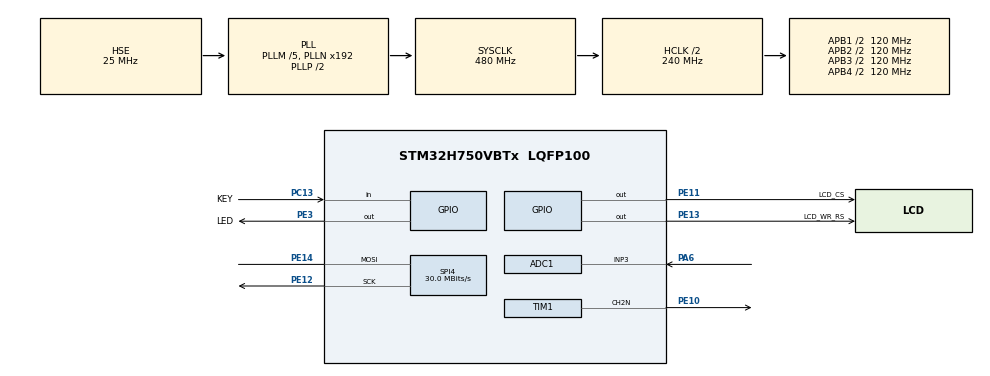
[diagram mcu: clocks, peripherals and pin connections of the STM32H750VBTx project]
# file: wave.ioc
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ADC1.Channel-0\#ChannelRegularConversion=ADC_CHANNEL_3
ADC1.ConversionDataManagement=ADC_CONVERSIONDATA_DMA_CIRCULAR
ADC1.ExternalTrigConv=ADC_EXTERNALTRIG_T2_TRGO
ADC1.NbrOfConversionFlag=1
ADC1.OffsetNumber-0\#ChannelRegularConversion=ADC_OFFSET_NONE
ADC1.OffsetSignedSaturation-0\#ChannelRegularConversion=DISABLE
ADC1.Rank-0\#ChannelRegularConversion=1
ADC1.Resolution=ADC_RESOLUTION_8B
ADC1.SamplingTime-0\#ChannelRegularConversion=ADC_SAMPLETIME_1CYCLE_5
ADC1.master=1
CORTEX_M7.default_mode_Activation=1
Dma.ADC1.0.Direction=DMA_PERIPH_TO_MEMORY
Dma.ADC1.0.EventEnable=DISABLE
Dma.ADC1.0.FIFOMode=DMA_FIFOMODE_ENABLE
Dma.ADC1.0.FIFOThreshold=DMA_FIFO_THRESHOLD_FULL
Dma.ADC1.0.Instance=DMA1_Stream0
Dma.ADC1.0.MemBurst=DMA_MBURST_SINGLE
Dma.ADC1.0.MemDataAlignment=DMA_MDATAALIGN_WORD
Dma.ADC1.0.MemInc=DMA_MINC_ENABLE
Dma.ADC1.0.Mode=DMA_CIRCULAR
Dma.ADC1.0.PeriphBurst=DMA_PBURST_SINGLE
Dma.ADC1.0.PeriphDataAlignment=DMA_PDATAALIGN_BYTE
Dma.ADC1.0.PeriphInc=DMA_PINC_DISABLE
Dma.ADC1.0.Polarity=HAL_DMAMUX_REQ_GEN_RISING
Dma.ADC1.0.Priority=DMA_PRIORITY_LOW
Dma.ADC1.0.RequestNumber=1
Dma.ADC1.0.SignalID=NONE
Dma.ADC1.0.SyncEnable=DISABLE
Dma.ADC1.0.SyncPolarity=HAL_DMAMUX_SYNC_NO_EVENT
Dma.ADC1.0.SyncRequestNumber=1
Dma.ADC1.0.SyncSignalID=NONE
Dma.MEMTOMEM.1.Direction=DMA_MEMORY_TO_MEMORY
Dma.MEMTOMEM.1.EventEnable=DISABLE
Dma.MEMTOMEM.1.FIFOMode=DMA_FIFOMODE_ENABLE
Dma.MEMTOMEM.1.FIFOThreshold=DMA_FIFO_THRESHOLD_FULL
Dma.MEMTOMEM.1.Instance=DMA2_Stream1
Dma.MEMTOMEM.1.MemBurst=DMA_MBURST_INC4
Dma.MEMTOMEM.1.MemDataAlignment=DMA_MDATAALIGN_WORD
Dma.MEMTOMEM.1.MemInc=DMA_MINC_ENABLE
Dma.MEMTOMEM.1.Mode=DMA_NORMAL
Dma.MEMTOMEM.1.PeriphBurst=DMA_PBURST_INC4
Dma.MEMTOMEM.1.PeriphDataAlignment=DMA_PDATAALIGN_WORD
Dma.MEMTOMEM.1.PeriphInc=DMA_PINC_ENABLE
Dma.MEMTOMEM.1.Polarity=HAL_DMAMUX_REQ_GEN_RISING
Dma.MEMTOMEM.1.Priority=DMA_PRIORITY_MEDIUM
Dma.MEMTOMEM.1.RequestNumber=1
Dma.MEMTOMEM.1.SignalID=NONE
Dma.MEMTOMEM.1.SyncEnable=DISABLE
Dma.MEMTOMEM.1.SyncPolarity=HAL_DMAMUX_SYNC_NO_EVENT
Dma.MEMTOMEM.1.SyncRequestNumber=1
Dma.MEMTOMEM.1.SyncSignalID=NONE
Dma.Request0=ADC1
Dma.Request1=MEMTOMEM
Mcu.Family=STM32H7
Mcu.Name=STM32H750VBTx
Mcu.Package=LQFP100
NVIC.DMA1_Stream0_IRQn=true\:0\:0\:false\:false\:true\:false\:true\:true
NVIC.PriorityGroup=NVIC_PRIORITYGROUP_4
NVIC.TIM7_IRQn=true\:0\:0\:false\:false\:true\:true\:true\:true
PA13\ (JTMS/SWDIO).Mode=Serial_Wire
PA13\ (JTMS/SWDIO).Signal=DEBUG_JTMS-SWDIO
PA14\ (JTCK/SWCLK).Mode=Serial_Wire
PA14\ (JTCK/SWCLK).Signal=DEBUG_JTCK-SWCLK
PA6.Signal=ADCx_INP3
PC13.GPIO_Label=KEY
PC13.Signal=GPIO_Input
PE10.Mode=PWM Generation2 CH2N
PE10.Signal=TIM1_CH2N
PE11.GPIO_Label=LCD_CS
PE11.Signal=GPIO_Output
PE12.Mode=Simplex_Bidirectional_Master
PE12.Signal=SPI4_SCK
PE13.GPIO_Label=LCD_WR_RS
PE13.Signal=GPIO_Output
PE14.Mode=Simplex_Bidirectional_Master
PE14.Signal=SPI4_MOSI
PE3.GPIO_Label=LED
PE3.GPIO_Speed=GPIO_SPEED_FREQ_VERY_HIGH
PE3.PinState=GPIO_PIN_RESET
PE3.Signal=GPIO_Output
PH0-OSC_IN\ (PH0).Mode=HSE-External-Oscillator
PH0-OSC_IN\ (PH0).Signal=RCC_OSC_IN
PH1-OSC_OUT\ (PH1).Mode=HSE-External-Oscillator
PH1-OSC_OUT\ (PH1).Signal=RCC_OSC_OUT
ProjectManager.HeapSize=0x200
ProjectManager.StackSize=0x400
ProjectManager.TargetToolchain=MDK-ARM V5.32
RCC.ADCFreq_Value=75000000
RCC.APB1Freq_Value=120000000
RCC.APB2Freq_Value=120000000
RCC.APB3Freq_Value=120000000
RCC.APB4Freq_Value=120000000
RCC.CortexFreq_Value=480000000
RCC.D1PPRE=RCC_APB3_DIV2
RCC.D2PPRE1=RCC_APB1_DIV2
RCC.D2PPRE2=RCC_APB2_DIV2
RCC.D3PPRE=RCC_APB4_DIV2
RCC.DIVM1=5
RCC.DIVM2=2
RCC.DIVN1=192
RCC.DIVN2=12
RCC.HCLKFreq_Value=240000000
RCC.HPRE=RCC_HCLK_DIV2
RCC.PLL2FRACN=0
RCC.PLLFRACN=0
RCC.PLLSourceVirtual=RCC_PLLSOURCE_HSE
RCC.SYSCLKFreq_VALUE=480000000
RCC.SYSCLKSource=RCC_SYSCLKSOURCE_PLLCLK
RCC.USBFreq_Value=480000000
SH.ADCx_INP3.0=ADC1_INP3,IN3-Single-Ended
SPI4.BaudRatePrescaler=SPI_BAUDRATEPRESCALER_4
SPI4.CalculateBaudRate=30.0 MBits/s
SPI4.DataSize=SPI_DATASIZE_8BIT
SPI4.Direction=SPI_DIRECTION_1LINE
SPI4.Mode=SPI_MODE_MASTER
SPI4.VirtualType=VM_MASTER
TIM1.Channel-PWM\ Generation2\ CH2N=TIM_CHANNEL_2
TIM1.OCNPolarity_2=TIM_OCNPOLARITY_LOW
TIM1.Period=1000-1
TIM1.Prescaler=24-1
TIM2.AutoReloadPreload=TIM_AUTORELOAD_PRELOAD_ENABLE
TIM2.Period=5-1
TIM2.Prescaler=24-1
TIM2.TIM_MasterOutputTrigger=TIM_TRGO_UPDATE
TIM2.TIM_MasterSlaveMode=TIM_MASTERSLAVEMODE_DISABLE
TIM7.AutoReloadPreload=TIM_AUTORELOAD_PRELOAD_ENABLE
TIM7.Period=10000-1
TIM7.Prescaler=240-1
VP_MEMORYMAP_VS_MEMORYMAP.Mode=CurAppReg
VP_TIM1_VS_ClockSourceINT.Mode=Internal
VP_TIM2_VS_ClockSourceINT.Mode=Internal
VP_TIM7_VS_ClockSourceINT.Mode=Enable_Timer
board=custom

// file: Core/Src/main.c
/* USER CODE BEGIN Header */
/**
  ******************************************************************************
  * @file           : main.c
  * @brief          : Main program body
  ******************************************************************************
  * @attention
  *
  * Copyright (c) 2025 STMicroelectronics.
  * All rights reserved.
  *
  * This software is licensed under terms that can be found in the LICENSE file
  * in the root directory of this software component.
  * If no LICENSE file comes with this software, it is provided AS-IS.
  *
  ******************************************************************************
  */
/* USER CODE END Header */
#include "main.h"
#include "adc.h"
#include "dma.h"
#include "memorymap.h"
#include "spi.h"
#include "tim.h"
#include "gpio.h"

/* USER CODE BEGIN Includes */
#include "button_user.h"
#include "my_adc.h"
#include "lcd.h"
#include <string.h>
#include "fft.h"
/* USER CODE END Includes */

void SystemClock_Config(void);
static void MPU_Config(void);

/* USER CODE BEGIN 0 */

/**
 * @brief 显示波形（离散点或连线模式）
 * @param buffer 输入数据（范围0~79）
 * @param flag 0=离散点模式，1=连线模式
 * @param stop 是否停止绘制
 */
void show_wave(uint8_t* buffer, uint8_t flag, uint8_t stop,uint32_t color) {
    if (stop) return;

    // 清屏（全黑背景）
    ST7735_LCD_Driver.FillRect(&st7735_pObj, 0, 0, ST7735Ctx.Width, ST7735Ctx.Height, BLACK);

    if (flag) {
        //===== 连线模式（插值绘制线段）=====
        for (uint16_t num = 1; num < 160; num++) {
            int16_t y_prev = 79 - buffer[num - 1]; // 前一个点的Y坐标
            int16_t y_curr = 79 - buffer[num];     // 当前点的Y坐标

            // 计算两点间的垂直距离
            int16_t dy = y_curr - y_prev;

            // 如果距离>1，插值绘制中间点
            if (abs(dy) > 1) {
                // 插值步数（根据距离动态调整）
                uint8_t steps = abs(dy);
                for (uint8_t t = 1; t < steps; t++) {
                    int16_t y_interp = y_prev + (dy * t) / steps; // 线性插值
                    ST7735_SetPixel(&st7735_pObj, num - 1, y_interp, color);
                }
            }

            // 绘制当前点
            ST7735_SetPixel(&st7735_pObj, num, y_curr, color);
        }
    } else {
        //===== 离散点模式（直接绘制）=====
        for (uint16_t num = 0; num < 160; num++) {
            ST7735_SetPixel(&st7735_pObj, num, 79 - buffer[num], color);
        }
    }
}
void show_wave4(uint8_t* buffer, uint8_t flag, uint8_t stop,uint32_t color) {
    if (stop) return;

    // 清屏（全黑背景）
    ST7735_LCD_Driver.FillRect(&st7735_pObj, 0, 0, ST7735Ctx.Width, ST7735Ctx.Height, BLACK);

    if (flag) {
        //===== 连线模式（插值绘制线段）=====
        for (uint16_t num = 1; num < 160; num++) {
            int16_t y_prev = 79 - buffer[num - 1]/4; // 前一个点的Y坐标
            int16_t y_curr = 79 - buffer[num]/4;     // 当前点的Y坐标

            // 计算两点间的垂直距离
            int16_t dy = y_curr - y_prev;

            // 如果距离>1，插值绘制中间点
            if (abs(dy) > 1) {
                // 插值步数（根据距离动态调整）
                uint8_t steps = abs(dy);
                for (uint8_t t = 1; t < steps; t++) {
                    int16_t y_interp = y_prev + (dy * t) / steps; // 线性插值
                    ST7735_SetPixel(&st7735_pObj, num - 1, y_interp, color);
                }
            }

            // 绘制当前点
            ST7735_SetPixel(&st7735_pObj, num, y_curr, color);
        }
    } else {
        //===== 离散点模式（直接绘制）=====
        for (uint16_t num = 0; num < 160; num++) {
            ST7735_SetPixel(&st7735_pObj, num, 79 - buffer[num]/4, color);
        }
    }
}

/**
 * @brief 将uint32_t转换为十进制字符串
 * @param num 待转换的数字
 * @param str 输出缓冲区（至少11字节，包含结束符'\0'）
 * @return 字符串长度（不含结束符）
 */
uint8_t uint32_to_str_dec(uint32_t num, char* str) {
    char* p = str;
    uint32_t divisor = 1000000000; // 10^9

    // 处理0的特殊情况
    if (num == 0) {
        *p++ = '0';
        *p = '\0';
        return 1;
    }

    // 从最高位开始逐位提取
    uint8_t started = 0;
    while (divisor > 0) {
        uint8_t digit = num / divisor;
        if (digit > 0 || started) {
            *p++ = '0' + digit;
            started = 1;
        }
        num %= divisor;
        divisor /= 10;
    }

    *p = '\0';
    return p - str;
}
char buf[15];

#define BSP_LED_ON()     (GPIOE->BSRR = GPIO_BSRR_BS3)//高电平
#define BSP_LED_OFF()    (GPIOE->BSRR = GPIO_BSRR_BR3)//低电平
#define BSP_LED_TOGGLE() (GPIOE->ODR ^= GPIO_ODR_OD3)

/* USER CODE END 0 */

int main(void)
{

  /* MPU Configuration--------------------------------------------------------*/
  MPU_Config();

  /* MCU Configuration--------------------------------------------------------*/

  /* Reset of all peripherals, Initializes the Flash interface and the Systick. */
  HAL_Init();

  /* Configure the system clock */
  SystemClock_Config();

  /* Initialize all configured peripherals */
  MX_GPIO_Init();
  MX_DMA_Init();
  MX_ADC1_Init();
  MX_TIM2_Init();
  MX_SPI4_Init();
  MX_TIM7_Init();
  MX_TIM1_Init();
  /* USER CODE BEGIN 2 */
	button_init();
	LCD_Test();
	adc_init();

  /* USER CODE END 2 */

  /* Infinite loop */
  while (1)
  {

    /* USER CODE BEGIN 3 */

	if(adc_dma_finish_cnt >= 5)
	{
		BSP_LED_ON();

		adc_dma_finish_cnt = 0;

		//复制dma缓冲区到本地，防止被覆盖

        HAL_DMA_Start(&hdma_memtomem_dma2_stream1, (uint32_t)adc_buffer, (uint32_t)adc_buffer_copy, SAMPLING_DEPTH/4);
		hdma_memtomem_dma2_stream1.Lock = HAL_UNLOCKED;//解锁
		hdma_memtomem_dma2_stream1.State = HAL_DMA_STATE_READY;

//		for(uint32_t i=0; i<SAMPLING_DEPTH; i++)
//		adc_buffer_copy[i] = adc_buffer[i];

		//fft频谱数据分析
		fft_process(adc_buffer_copy, 1024, 2000000, &f, &a, db);

		if(long_falg)//切换显示信号频谱还是信号波形
		{
			show_wave4(db, double_flag, 0,RED);
			uint32_to_str_dec(f, buf);
			LCD_ShowString(0, 0, 50, 40, 12, buf);
			LCD_ShowString(38, 0, 40, 40, 12, "HZ");
			uint32_to_str_dec(a*1000, buf);
			LCD_ShowString(60, 0, 40, 40, 12, buf);
			LCD_ShowString(85, 0, 40, 40, 12, "mV");
		}
		else
		{
			if(single_flag)//auto算法
			{
//				num++;
//				static uint16_t ff;
//				if(num==1)
//				{
					uint16_t ff = (uint16_t)((50000.0f/f) + 1);
//					if(ff>=63)ff=63;
//				}

				static uint8_t temp[10240]={0};
				uint16_t num = 10240/ff;

				//根据频率和幅值，压缩原始信号，到buffer_show[160]
				for(uint16_t i=0;i<num;i++)
				{
					temp[i] = (uint8_t)((float)adc_buffer_copy[i*(uint16_t)ff]/(1+(a-0.7f)*1.2f));
				}
				for(uint16_t i=0; i<num; i++)
				{
					static uint8_t flag1 = 0;
					uint16_t i_temp = 0;

					if(flag1 == 0)
					{
						// 修复1：补全if条件括号
						if( ((temp[i+1] - temp[i]) > 10) || ((temp[i] > 38) && (temp[i] < 42) && (temp[i] < temp[i + 1])) ) // 找到触发点
						{
							flag1 = 1;
							i_temp = i;
						}
					}

					if(flag1 == 1) // 找到触发点，向右取值160个点
					{
						// 修复2：添加边界检查
						for(uint16_t j=0; j<160 && (i_temp+j)<num; j++)
						{
							buffer_show[j] = temp[j+i_temp];
						}
						flag1 = 0;
						break;
					}
				}

				show_wave(buffer_show, double_flag, 0,LIGHTBLUE);
				uint32_to_str_dec(f, buf);
				LCD_ShowString(0, 0, 40, 40, 12, buf);
				LCD_ShowString(38, 0, 40, 40, 12, "HZ");
				uint32_to_str_dec(a*1000, buf);
				LCD_ShowString(60, 0, 40, 40, 12, buf);
				LCD_ShowString(85, 0, 40, 40, 12, "mV");
			}
			else
			{
				show_wave(adc_buffer_copy, double_flag, 0,WHITE);
				uint32_to_str_dec(f, buf);
				LCD_ShowString(0, 0, 40, 40, 12, buf);
				LCD_ShowString(38, 0, 40, 40, 12, "HZ");
				uint32_to_str_dec(a*1000, buf);
				LCD_ShowString(60, 0, 40, 40, 12, buf);
				LCD_ShowString(85, 0, 40, 40, 12, "mV");
			}
		}
		BSP_LED_OFF();
	}

	 // HAL_Delay(adc_dma_finish_cnt);

  }
  /* USER CODE END 3 */
}

void SystemClock_Config(void)
{
  RCC_OscInitTypeDef RCC_OscInitStruct = {0};
  RCC_ClkInitTypeDef RCC_ClkInitStruct = {0};

  /** Supply configuration update enable
  */
  HAL_PWREx_ConfigSupply(PWR_LDO_SUPPLY);

  /** Configure the main internal regulator output voltage
  */
  __HAL_PWR_VOLTAGESCALING_CONFIG(PWR_REGULATOR_VOLTAGE_SCALE0);

  while(!__HAL_PWR_GET_FLAG(PWR_FLAG_VOSRDY)) {}

  /** Initializes the RCC Oscillators according to the specified parameters
  * in the RCC_OscInitTypeDef structure.
  */
  RCC_OscInitStruct.OscillatorType = RCC_OSCILLATORTYPE_HSE;
  RCC_OscInitStruct.HSEState = RCC_HSE_ON;
  RCC_OscInitStruct.PLL.PLLState = RCC_PLL_ON;
  RCC_OscInitStruct.PLL.PLLSource = RCC_PLLSOURCE_HSE;
  RCC_OscInitStruct.PLL.PLLM = 5;
  RCC_OscInitStruct.PLL.PLLN = 192;
  RCC_OscInitStruct.PLL.PLLP = 2;
  RCC_OscInitStruct.PLL.PLLQ = 2;
  RCC_OscInitStruct.PLL.PLLR = 2;
  RCC_OscInitStruct.PLL.PLLRGE = RCC_PLL1VCIRANGE_2;
  RCC_OscInitStruct.PLL.PLLVCOSEL = RCC_PLL1VCOWIDE;
  RCC_OscInitStruct.PLL.PLLFRACN = 0;
  if (HAL_RCC_OscConfig(&RCC_OscInitStruct) != HAL_OK)
  {
    Error_Handler();
  }

  /** Initializes the CPU, AHB and APB buses clocks
  */
  RCC_ClkInitStruct.ClockType = RCC_CLOCKTYPE_HCLK|RCC_CLOCKTYPE_SYSCLK
                              |RCC_CLOCKTYPE_PCLK1|RCC_CLOCKTYPE_PCLK2
                              |RCC_CLOCKTYPE_D3PCLK1|RCC_CLOCKTYPE_D1PCLK1;
  RCC_ClkInitStruct.SYSCLKSource = RCC_SYSCLKSOURCE_PLLCLK;
  RCC_ClkInitStruct.SYSCLKDivider = RCC_SYSCLK_DIV1;
  RCC_ClkInitStruct.AHBCLKDivider = RCC_HCLK_DIV2;
  RCC_ClkInitStruct.APB3CLKDivider = RCC_APB3_DIV2;
  RCC_ClkInitStruct.APB1CLKDivider = RCC_APB1_DIV2;
  RCC_ClkInitStruct.APB2CLKDivider = RCC_APB2_DIV2;
  RCC_ClkInitStruct.APB4CLKDivider = RCC_APB4_DIV2;

  if (HAL_RCC_ClockConfig(&RCC_ClkInitStruct, FLASH_LATENCY_4) != HAL_OK)
  {
    Error_Handler();
  }
}

 /* MPU Configuration */

void MPU_Config(void)
{
  MPU_Region_InitTypeDef MPU_InitStruct = {0};

  /* Disables the MPU */
  HAL_MPU_Disable();

  /** Initializes and configures the Region and the memory to be protected
  */
  MPU_InitStruct.Enable = MPU_REGION_ENABLE;
  MPU_InitStruct.Number = MPU_REGION_NUMBER0;
  MPU_InitStruct.BaseAddress = 0x0;
  MPU_InitStruct.Size = MPU_REGION_SIZE_4GB;
  MPU_InitStruct.SubRegionDisable = 0x87;
  MPU_InitStruct.TypeExtField = MPU_TEX_LEVEL0;
  MPU_InitStruct.AccessPermission = MPU_REGION_NO_ACCESS;
  MPU_InitStruct.DisableExec = MPU_INSTRUCTION_ACCESS_DISABLE;
  MPU_InitStruct.IsShareable = MPU_ACCESS_SHAREABLE;
  MPU_InitStruct.IsCacheable = MPU_ACCESS_NOT_CACHEABLE;
  MPU_InitStruct.IsBufferable = MPU_ACCESS_NOT_BUFFERABLE;

  HAL_MPU_ConfigRegion(&MPU_InitStruct);
  /* Enables the MPU */
  HAL_MPU_Enable(MPU_PRIVILEGED_DEFAULT);

}

void Error_Handler(void)
{
  __disable_irq();
  while (1)
  {
  }
}
